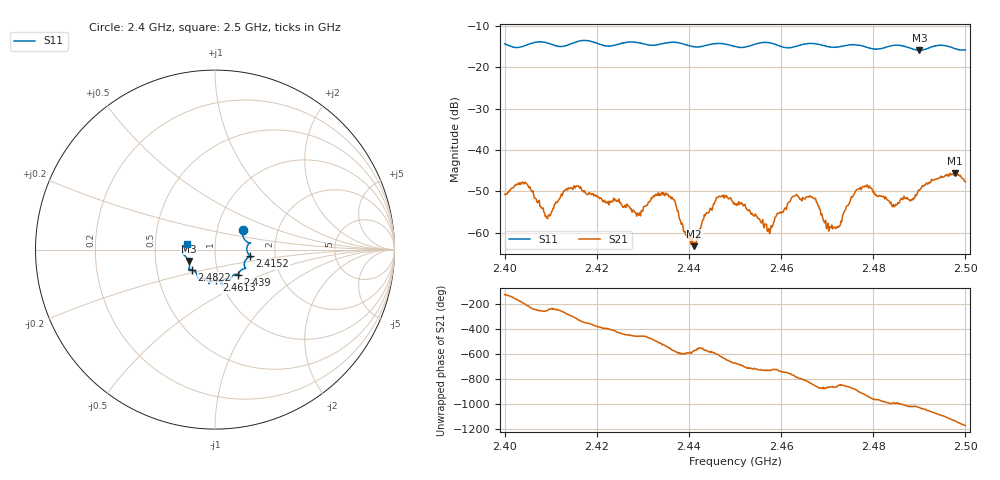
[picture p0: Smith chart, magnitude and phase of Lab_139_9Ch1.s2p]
# Hz S RI R 50
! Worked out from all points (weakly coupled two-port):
!   601 points, 2.4 GHz to 2.5 GHz, reference 50 ohm
!   highest |S21| = -45.63 dB at 2.4977 GHz (marker M1); lowest = -63.2 dB at 2.4412 GHz (marker M2)
!   lowest |S11| = -15.9 dB at 2.49 GHz (marker M3), VSWR 1.38, Z = 36.9 - j4.84 ohm
!   |S11| at or under -10 dB: start of sweep to end of sweep
!   S12 and S22 are empty: the file has one direction only
!   S11 on the Smith chart (normalised r, x): 2.4 GHz: 1.33, +0.31; 2.4152 GHz: 1.48, -0.11; 2.439 GHz: 1.24, -0.36; 2.4613 GHz: 0.96, -0.34; 2.4822 GHz: 0.76, -0.17; 2.5 GHz: 0.72, +0.05
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2.4e9  0.1554 0.1113  -0.00155 -0.00245  0 0  0 0
2.404333e9  0.1754 0.0451  -0.00386 0.00121  0 0  0 0
2.409333e9  0.192 0.0369  -0.000519 0.00139  0 0  0 0
2.415167e9  0.195 -0.036  0.00216 0.00298  0 0  0 0
2.416667e9  0.2046 -0.042  0.00313 0.00127  0 0  0 0
2.429e9  0.1673 -0.1054  -0.000115 -0.00165  0 0  0 0
2.433333e9  0.1324 -0.1325  -0.00245 -0.00179  0 0  0 0
2.4365e9  0.135 -0.1473  -0.00224 0.00128  0 0  0 0
2.439e9  0.1277 -0.1389  -0.000589 0.000844  0 0  0 0
2.441167e9  0.1068 -0.1399  -0.000582 0.00037  0 0  0 0
2.446167e9  0.0853 -0.1734  -0.00134 0.00232  0 0  0 0
2.45e9  0.0687 -0.1633  0.00147 0.00161  0 0  0 0
2.4575e9  0.0401 -0.1929  0.00096 -0.000177  0 0  0 0
2.461333e9  0.00747 -0.171  0.00192 -0.000999  0 0  0 0
2.466667e9  -0.0337 -0.1902  -0.00126 -0.00239  0 0  0 0
2.471667e9  -0.0617 -0.1623  -0.000936 -0.000702  0 0  0 0
2.476667e9  -0.0952 -0.1583  -0.00337 -0.000189  0 0  0 0
2.482167e9  -0.1282 -0.1118  -0.000519 0.0027  0 0  0 0
2.483333e9  -0.1395 -0.1102  -3.84e-05 0.00245  0 0  0 0
2.49e9  -0.1468 -0.0638  0.00196 0.00259  0 0  0 0
2.497667e9  -0.1677 -0.00412  0.00315 -0.00417  0 0  0 0
2.5e9  -0.1584 0.0339  -7.33e-05 -0.00412  0 0  0 0
